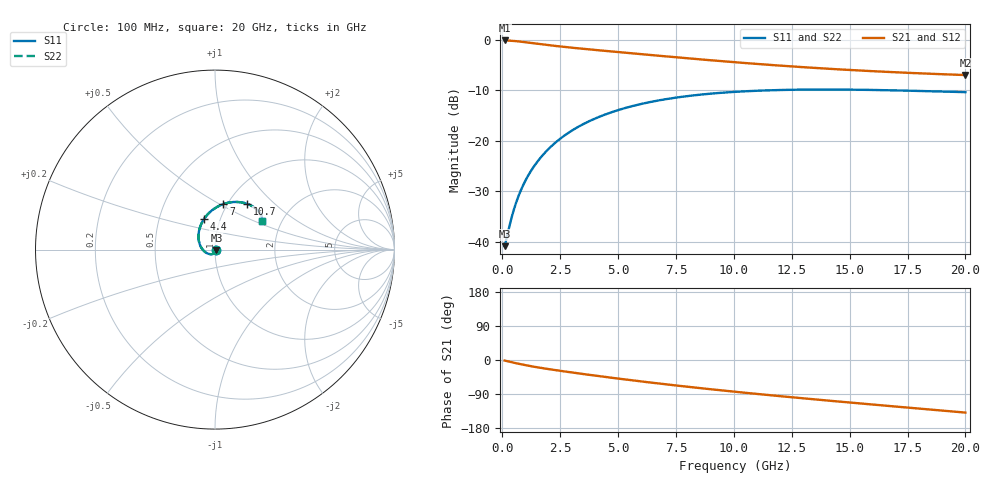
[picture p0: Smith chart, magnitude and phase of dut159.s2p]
! Touchstone file exported from HFSS 2023.1.0
!  File:  D:/Users/fzz/RDL_TSV/temp_RDL_TSV_159_1778753525.aedt
!  Generated:  6:19:30 %x4E0B%x5348  5%x6708 14, 2026
!  Design:  RDL_TSV
!  Project:  temp_RDL_TSV_159_1778753525
!  Setup:  Setup1
!  Solution:  Sweep
! Variables:
!  dtsv = 18.67um
!  hbump = 3um
!  htsv = 54.61um
!  ldown = 282.12um
!  lrdl = 239.54um
!  p = 40
!  p1 = 55.92um
!  rhole = 10um
!  subl = 1804.52um
!  t = 450um
!  tdown = 3.8um
!  trdl = 4.38um
!  viad = 10um
!  wdown = 22.47um
!  wrdl = 18.05um
!  xbump = 18um
# GHz S MA R 50.000000
! Terminal data exported
! Port[1] = TM1_1_T1
! Port[2] = TM1_4_T1
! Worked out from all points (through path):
!   200 points, 100 MHz to 20 GHz, reference 50 ohm
!   highest |S21| = -0.08 dB at 100 MHz (marker M1); lowest = -6.9 dB at 20 GHz (marker M2)
!   group delay of S21, straight-line fit = 18.1 ps
!   lowest |S11| = -40.9 dB at 100 MHz (marker M3), VSWR 1.02, Z = 50.8 - j0.45 ohm
!   |S11| at or under -10 dB: start of sweep to 11.3 GHz; 17.16 GHz to end of sweep
!   |S22| runs from -40.9 to -9.8 dB; largest |S21 - S12| = 3.4e-13
!   S11 on the Smith chart (normalised r, x): 100 MHz: 1.02, -0.01; 4.4 GHz: 0.84, +0.30; 7 GHz: 0.96, +0.52; 10.7 GHz: 1.23, +0.69; 20 GHz: 1.59, +0.55
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0.1  0.009035 -29.3  0.9911 -1.5  0.9911 -1.5  0.009035 -29.3
! Gamma 0 0 0 0
! Port Impedance 50 0 50 0
0.4  0.0173 -86.7  0.9839 -5.8  0.9839 -5.8  0.0173 -86.7
0.6  0.02455 -109.6  0.9749 -8.6  0.9749 -8.6  0.02454 -109.6
0.7  0.02838 -119.0  0.9696 -9.9  0.9696 -9.9  0.02837 -119.0
0.9  0.03632 -135.3  0.9579 -12.4  0.9579 -12.4  0.03631 -135.3
1.1  0.04454 -149.2  0.9453 -14.8  0.9453 -14.8  0.04453 -149.2
1.3  0.05298 -161.3  0.9326 -17.0  0.9326 -17.0  0.05297 -161.3
1.7  0.07025 178.7  0.9078 -21.1  0.9078 -21.1  0.07023 178.7
2.2  0.09207 159.2  0.8795 -25.9  0.8795 -25.9  0.09203 159.2
2.8  0.1179 141.4  0.8495 -31.2  0.8495 -31.2  0.1178 141.4
3.5  0.1468 125.5  0.8187 -37.1  0.8187 -37.1  0.1467 125.5
4.4  0.1811 109.8  0.7828 -44.3  0.7828 -44.3  0.181 109.7
5.5  0.2178 95.0  0.7423 -52.8  0.7423 -52.8  0.2177 95.0
6.8  0.2532 81.4  0.6977 -62.3  0.6977 -62.3  0.253 81.4
7  0.2579 79.6  0.6911 -63.7  0.6911 -63.7  0.2577 79.6
8.4  0.2851 68.5  0.6478 -73.3  0.6478 -73.3  0.2849 68.4
10.1  0.307 57.8  0.6014 -84.1  0.6014 -84.1  0.3067 57.8
10.7  0.3122 54.6  0.5867 -87.8  0.5867 -87.8  0.3119 54.6
13.4  0.3231 43.3  0.531 -103.4  0.531 -103.4  0.3228 43.3
15  0.3224 38.6  0.5051 -112.2  0.5051 -112.2  0.3221 38.5
16.7  0.3179 34.8  0.4825 -121.3  0.4825 -121.3  0.3177 34.8
20  0.3044 31.2  0.4498 -138.8  0.4498 -138.8  0.3042 31.1
